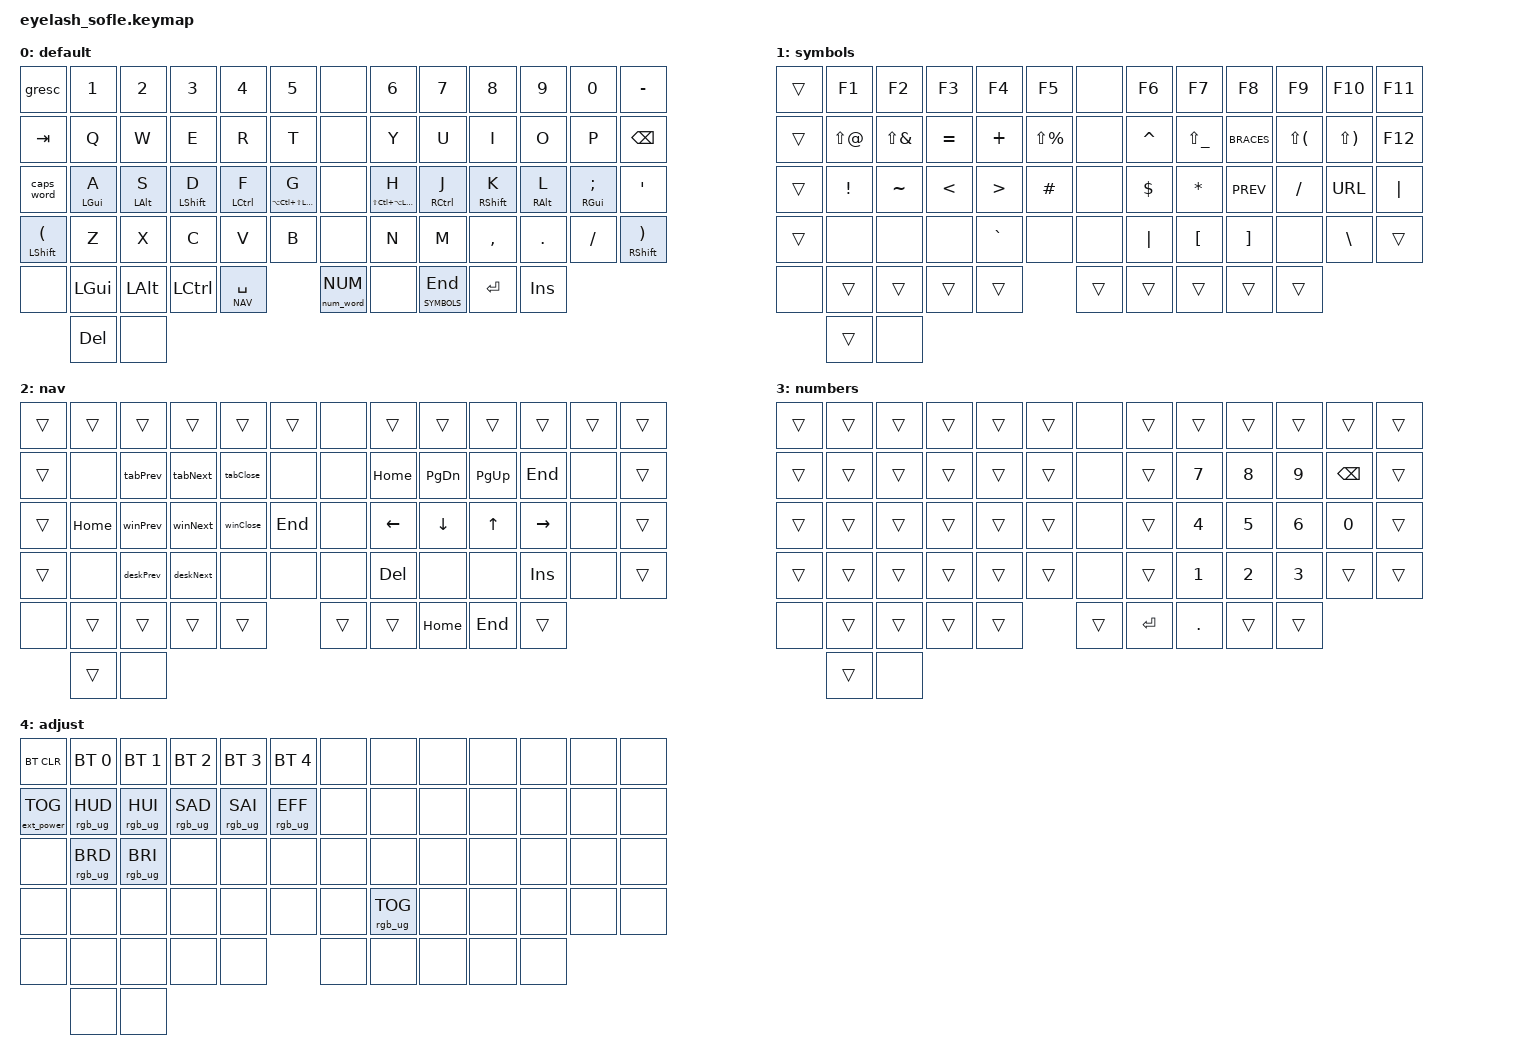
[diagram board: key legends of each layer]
/*
 * Copyright (c) 2020 The ZMK Contributors
 *
 * SPDX-License-Identifier: MIT
 */

#include <behaviors/num_word.dtsi>
#include <behaviors.dtsi>
#include <dt-bindings/zmk/keys.h>
#include <dt-bindings/zmk/bt.h>
#include <dt-bindings/zmk/rgb.h>
#include <dt-bindings/zmk/ext_power.h>

#define BASE 0
#define SYMBOLS 1
#define NAV 2
#define NUM 3
#define ADJUST 4

/ {
    behaviors {
        hm: homerow_mods {
            compatible = "zmk,behavior-hold-tap";
            #binding-cells = <2>;
            tapping-term-ms = <300>;
            quick-tap-ms = <200>;
            flavor = "tap-preferred";
            bindings = <&kp>, <&kp>;
        };
        hold_tap: hold_tap {
            compatible = "zmk,behavior-hold-tap";
            bindings = <&kp>, <&kp>;
            #binding-cells = <2>;
            tapping-term-ms = <200>;
            flavor = "hold-preferred";
        };
    };

    macros {
        BRACES: PGREP {
            compatible = "zmk,behavior-macro";
            #binding-cells = <0>;
            bindings = <&kp LEFT_BRACKET &kp RIGHT_BRACKET &kp LEFT>;
        };
        URL: URL {
            compatible = "zmk,behavior-macro";
            #binding-cells = <0>;
            bindings = <&kp LEFT_BRACKET &kp PERIOD &kp RIGHT_BRACKET>;
        };
        PREV: PREV {
            compatible = "zmk,behavior-macro";
            #binding-cells = <0>;
            bindings = <&kp DLLR &kp UNDER>;
        };
        winClose: winClose {
            compatible = "zmk,behavior-macro";
            #binding-cells = <0>;
            bindings = <&kp LA(F4)>;
        };
        tabNext: tabNext {
            compatible = "zmk,behavior-macro";
            #binding-cells = <0>;
            bindings = <&kp LC(TAB)>;
        };
        tabPrev: tabPrev {
            compatible = "zmk,behavior-macro";
            #binding-cells = <0>;
            bindings = <&kp LC(LS(TAB))>;
        };
        tabClose: tabClose {
            compatible = "zmk,behavior-macro";
            #binding-cells = <0>;
            bindings = <&kp LC(F4)>;
        };
        deskNext: deskNext {
            compatible = "zmk,behavior-macro";
            #binding-cells = <0>;
            bindings = <&kp LC(LG(RIGHT))>;
        };
        deskPrev: deskPrev {
            compatible = "zmk,behavior-macro";
            #binding-cells = <0>;
            bindings = <&kp LC(LG(LEFT))>;
        };
        winNext: winNext {
            compatible = "zmk,behavior-macro";
            #binding-cells = <0>;
            bindings = <&kp LA(TAB)>;
        };
        winPrev: winPrev {
            compatible = "zmk,behavior-macro";
            #binding-cells = <0>;
            bindings = <&kp LA(LS(TAB))>;
        };
    };

    combos {
        compatible = "zmk,combos";
        
        Copy {
            bindings = <&kp LC(C)>;
            key-positions = <41 42>;
        };
        Paste {
            bindings = <&kp LC(V)>;
            key-positions = <42 43>;
        };
        Cut {
            bindings = <&kp LC(X)>;
            key-positions = <41 43>;
        };
        Backspace {
            bindings = <&kp BACKSPACE>;
            key-positions = <34 35>;
        };
        Lparen {
            bindings = <&kp LEFT_PARENTHESIS>;
            key-positions = <40 41>;
        };
        Rparen {
            bindings = <&kp RIGHT_PARENTHESIS>;
            key-positions = <50 49>;
        };
        btclear {
            bindings = <&bt BT_CLR_ALL>;
            key-positions = <50 14>;
        };
        escape-combo {
            bindings = <&kp ESCAPE>;
            key-positions = <30 29>;
        };
        dash {
            bindings = <&kp MINUS>;
            key-positions = <47 48>;
        };
        underscore {
            bindings = <&kp UNDERSCORE>;
            key-positions = <48 49>;
        };
        systemlayer {
            bindings = <&mo ADJUST>;
            key-positions = <14 24>;
        };
        baselayer {
            bindings = <&to BASE>;
            key-positions = <31 30>;
        };
    };

    keymap {
        compatible = "zmk,keymap";
        default_layer {
            display-name = "default";
            bindings = <
//  --- LEFT HALF -----------------------------------------------------------------------------   --- CENTER ---   --- RIGHT HALF ----------------------------------------------------------------------------
&gresc              &kp N1            &kp N2              &kp N3            &kp N4             &kp N5     &none            &kp N6             &kp N7                 &kp N8              &kp N9                     &kp N0                      &kp MINUS
&kp TAB             &kp Q             &kp W               &kp E             &kp R              &kp T      &none            &kp Y              &kp U                  &kp I               &kp O                      &kp P                       &kp BSPC
//&caps_word          &kp A             &kp S               &kp D             &lt NAV F          &kp G      &none            &kp H              &kp J                  &kp K               &kp L                      &kp SEMI                    &kp SQT
&caps_word     &hm LEFT_GUI A &hm LEFT_ALT S &hm LEFT_SHIFT D &hm LCTRL F  &hm LA(LC(LS(LEFT_GUI))) G     &none   &hm LS(LC(LA(LEFT_GUI))) H &hm RCTRL J   &hm RIGHT_SHIFT K   &hm RIGHT_ALT L   &hm RIGHT_GUI SEMICOLON  &kp SQT
&mt LSHFT LPAR      &kp Z             &kp X               &kp C             &kp V              &kp B      &none            &kp N              &kp M                  &kp COMMA           &kp DOT                    &kp FSLH                    &mt RSHFT RPAR
//          --- EXTRAS --- --- THUMBS ---------------------------------------------------------                    --- THUMBS ----------------------------------------------------------- --- EXTRAS ---
&none               &kp LGUI          &kp LALT            &kp LCTRL         &lt NAV SPACE          &num_word NUM               &none    &lt SYMBOLS END            &kp ENTER        &kp INS          
             &kp DEL                     &none
            >;
        };
        
        lower_layer {
            display-name = "symbols";
            bindings = <
//  --- LEFT HALF -----------------------------------------------------------------------------   --- CENTER ---   --- RIGHT HALF ----------------------------------------------------------------------------
&trans      &kp F1            &kp F2              &kp F3            &kp F4             &kp F5     &none            &kp F6       &kp F7                 &kp F8              &kp F9                     &kp F10                     &kp F11
&trans      &kp LS(AT_SIGN)   &kp LS(AMPERSAND)   &kp EQUAL         &kp PLUS           &kp LS(PERCENT) &none       &kp CARET    &kp LS(UNDERSCORE)     &BRACES             &kp LS(LEFT_PARENTHESIS)   &kp LS(RIGHT_PARENTHESIS)   &kp F12
&trans      &kp EXCL          &kp TILDE           &kp LESS_THAN     &kp GREATER_THAN   &kp HASH   &none            &kp DOLLAR   &kp ASTERISK           &PREV               &kp SLASH                  &URL                        &kp PIPE
&trans      &none             &none               &none             &kp GRAVE          &none      &none            &kp PIPE     &kp LEFT_BRACKET       &kp RIGHT_BRACKET   &none                      &kp BACKSLASH               &trans
//          --- EXTRAS --- --- THUMBS ---------------------------------------------------------                    --- THUMBS ----------------------------------------------------------- --- EXTRAS ---
&none       &trans            &trans              &trans            &trans             &trans                      &trans       &trans                 &trans              &trans                     &trans                      &none
            >;
        };

        nav_layer {
            display-name = "nav";
            bindings = <
//  --- LEFT HALF -----------------------------------------------------------------------------   --- CENTER ---   --- RIGHT HALF ----------------------------------------------------------------------------
&trans      &trans            &trans              &trans            &trans             &trans     &none            &trans           &trans           &trans          &trans          &trans          &trans
&trans      &none             &tabPrev            &tabNext          &tabClose          &none      &none            &kp HOME         &kp PAGE_DOWN    &kp PAGE_UP     &kp END         &none           &trans
&trans      &kp HOME          &winPrev            &winNext          &winClose          &kp END    &none            &kp LEFT_ARROW   &kp DOWN         &kp UP          &kp RIGHT       &none           &trans
&trans      &none             &deskPrev           &deskNext         &none              &none      &none            &kp DELETE       &none            &none           &kp INSERT      &none           &trans
//          --- EXTRAS --- --- THUMBS ---------------------------------------------------------                    --- THUMBS ----------------------------------------------------------- --- EXTRAS ---
&none       &trans            &trans              &trans            &trans             &trans                      &trans           &kp HOME         &kp END         &trans          &trans          &none
            >;
        };

        number_layer {
            display-name = "numbers";
            bindings = <
//  --- LEFT HALF -----------------------------------------------------------------------------   --- CENTER ---   --- RIGHT HALF ----------------------------------------------------------------------------
&trans      &trans            &trans              &trans            &trans             &trans     &none            &trans       &trans           &trans          &trans          &trans          &trans
&trans      &trans            &trans              &trans            &trans             &trans     &none            &trans       &kp N7           &kp N8          &kp N9          &kp BACKSPACE   &trans
&trans      &trans            &trans              &trans            &trans             &trans     &none            &trans       &kp N4           &kp N5          &kp N6          &kp N0          &trans
&trans      &trans            &trans              &trans            &trans             &trans     &none            &trans       &kp N1           &kp N2          &kp N3          &trans          &trans
//          --- EXTRAS --- --- THUMBS ---------------------------------------------------------                    --- THUMBS ----------------------------------------------------------- --- EXTRAS ---
&none       &trans            &trans              &trans            &trans             &trans                      &kp ENTER    &kp PERIOD       &trans          &trans          &trans          &none
            >;
        };

        adjust_layer {
            display-name = "adjust";
            bindings = <
//  --- LEFT HALF -----------------------------------------------------------------------------   --- CENTER ---   --- RIGHT HALF ----------------------------------------------------------------------------
&bt BT_CLR          &bt BT_SEL 0      &bt BT_SEL 1      &bt BT_SEL 2      &bt BT_SEL 3      &bt BT_SEL 4           &none              &none              &none           &none           &none           &none           &none
&ext_power EP_TOG   &rgb_ug RGB_HUD   &rgb_ug RGB_HUI   &rgb_ug RGB_SAD   &rgb_ug RGB_SAI   &rgb_ug RGB_EFF        &none              &none              &none           &none           &none           &none           &none
&none               &rgb_ug RGB_BRD   &rgb_ug RGB_BRI   &none             &none             &none                  &none              &none              &none           &none           &none           &none           &none
&none               &none             &none             &none             &none             &none                  &none              &rgb_ug RGB_TOG    &none           &none           &none           &none           &none
//          --- EXTRAS --- --- THUMBS ---------------------------------------------------------                    --- THUMBS ----------------------------------------------------------- --- EXTRAS ---
&none               &none             &none             &none             &none             &none                                     &none              &none           &none           &none           &none           &none
            >;
        };
    };
};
